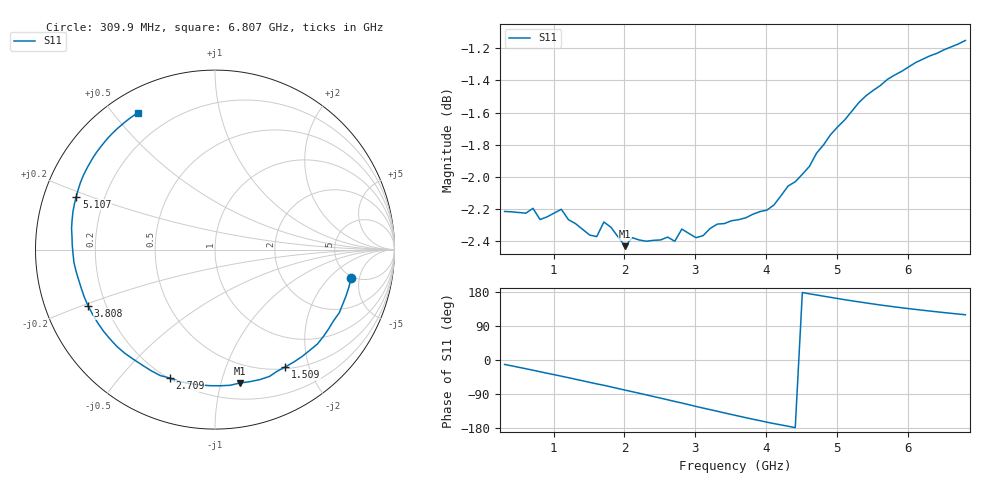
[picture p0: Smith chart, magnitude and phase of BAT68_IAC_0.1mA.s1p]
! Infineon Technologies  Discrete & RF Semiconductors
! BAT68
! IAC = 0.1 mA
! One-Port S-Parameters
# Hz  S  MA  R  50
!f  S11
!Hz  Mag  Ang
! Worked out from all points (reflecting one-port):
!   66 points, 309.9 MHz to 6.807 GHz, reference 50 ohm
!   lowest |S11| = -2.4 dB at 2.009 GHz (marker M1), VSWR 7.20, Z = 16.5 - j57.3 ohm
!   phase of S11 starts at -12 deg and turns -229 deg over the sweep
!   S11 on the Smith chart (normalised r, x): 309.9 MHz: 4.83, -3.79; 1.509 GHz: 0.53, -1.64; 2.709 GHz: 0.20, -0.69; 3.808 GHz: 0.13, -0.21; 5.107 GHz: 0.10, +0.18; 6.807 GHz: 0.09, +0.58
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3.0985e8  0.775 -11.7
5.0975e8  0.7744 -19.2
7.0965e8  0.7767 -26.9
1.0095e9  0.7741 -38.7
1.2094e9  0.7704 -46.6
1.50925e9  0.762 -59.0
1.70915e9  0.7691 -66.7
1.8091e9  0.7663 -70.9
2.009e9  0.756 -79.5
2.2089e9  0.7593 -87.8
2.4088e9  0.7591 -96.4
2.6087e9  0.7609 -104.9
2.70865e9  0.7586 -109.4
2.8086e9  0.7652 -113.5
3.2084e9  0.7656 -131.0
3.4083e9  0.7683 -139.6
3.6082e9  0.7704 -148.0
3.8081e9  0.7734 -156.1
4.10795e9  0.7786 -167.8
4.4078e9  0.7916 -178.5
4.70765e9  0.8079 171.6
4.90755e9  0.8188 165.3
5.10745e9  0.8275 159.1
5.2074e9  0.8326 156.1
5.6072e9  0.8479 145.1
6.007e9  0.8593 135.6
6.4068e9  0.8678 127.1
6.8066e9  0.8757 119.4
